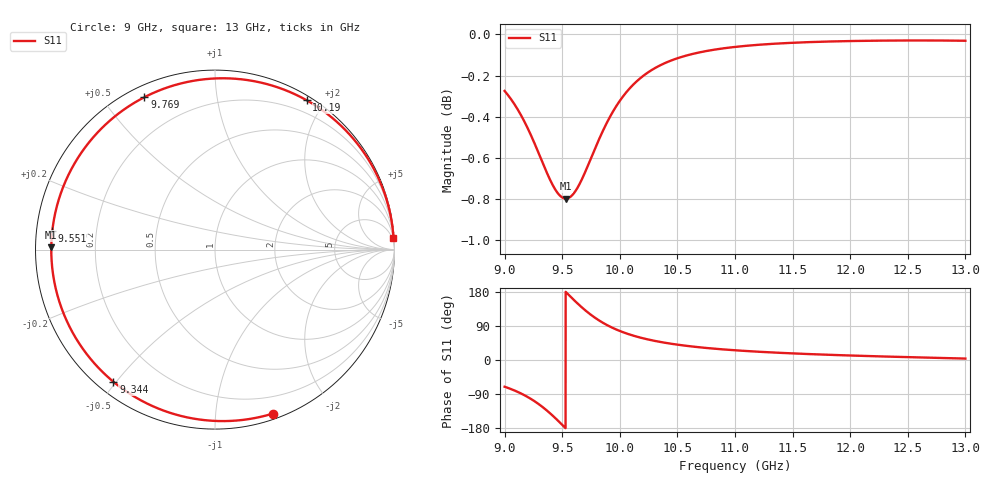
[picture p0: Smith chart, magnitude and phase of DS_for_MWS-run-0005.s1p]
! TOUCHSTONE file generated by CST DESIGN STUDIO
! Date and time: Tue Feb  4 14:04:16 2025
! Project name: C:\Work\MatlabApps\UnitCellOptimizationMatlab\CST\unitcell.cst
! Tree item: Tasks\Sweep1\SPara1\S-Parameters
! Header version: 2024
! Port assignment regex: !\s*Touchstone port\s*([0-9]+)\s*=\s*(CST MWS port|CST DES external port|CST DES block port)\s*(.+)\s* \(\"(.*)\"\)(\s*mode\s*([0-9]+))?.*
! Touchstone port assignment:
! Touchstone port 1 = CST DES external port 1 ("")
# GHz S MA R 50
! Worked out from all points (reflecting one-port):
!   4001 points, 9 GHz to 13 GHz, reference 50 ohm
!   lowest |S11| = -0.8 dB at 9.532 GHz (marker M1), VSWR 21.79, Z = 2.29 + j0.329 ohm
!   phase of S11 starts at -71 deg and turns -286 deg over the sweep
!   S11 on the Smith chart (normalised r, x): 9 GHz: 0.05, -1.41; 9.344 GHz: 0.05, -0.49; 9.551 GHz: 0.05, +0.06; 9.769 GHz: 0.05, +0.64; 10.19 GHz: 0.05, +1.79; 13 GHz: 2, +30
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9  0.9689 -70.5
9.095  0.9608 -81.7
9.202  0.9487 -97.9
9.276  0.9385 -112.1
9.344  0.9287 -127.6
9.387  0.9228 -138.6
9.43  0.9178 -150.4
9.5  0.9128 -171.0
9.532  0.9122 179.2
9.551  0.9125 173.5
9.605  0.9152 157.3
9.666  0.9215 140.1
9.717  0.9283 126.9
9.769  0.9358 114.9
9.817  0.9426 105.0
9.87  0.9496 95.3
9.935  0.9572 85.2
10  0.9635 76.6
10.089  0.9705 66.9
10.187  0.9763 58.4
10.33  0.9822 48.9
10.5  0.9867 40.5
10.721  0.9904 32.6
11  0.993 25.7
11.5  0.9953 17.4
12  0.9963 11.9
12.5  0.9966 7.6
13  0.9965 3.8
